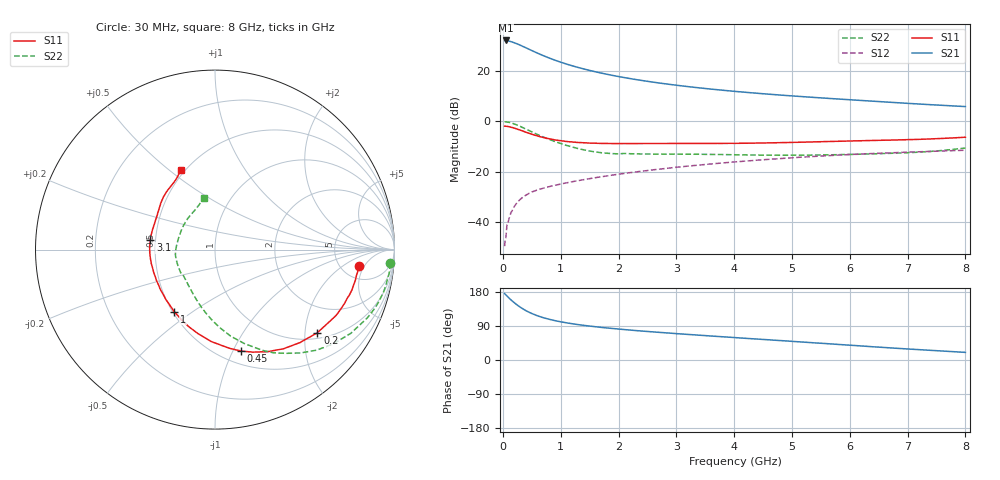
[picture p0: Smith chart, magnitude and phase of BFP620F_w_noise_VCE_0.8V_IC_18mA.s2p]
! Infineon Technologies  Discrete & RF Semiconductors
! BFP620F
! VCE =  0.8 V,  IC =  18 mA
! Common Emitter S-Parameters:  Dec 2014
# GHz  S  MA  R  50
!  f  S11  S21  S12  S22
! GHz  MAG  ANG  MAG  ANG  MAG  ANG  MAG  ANG
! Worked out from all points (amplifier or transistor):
!   95 points, 30 MHz to 8 GHz, reference 50 ohm
!   highest |S21| = 32.2 dB at 50 MHz (marker M1)
!   |S21| within 3 dB of that: start of sweep to 406.5 MHz
!   unconditionally stable (mu >= 1): 3.097 GHz to end of sweep
!   at 300 MHz: K = 0.26, MSG = 30.7 dB, |S12| = -31.0 dB
!   at 3.3 GHz: K = 1.01, MAG = 15.1 dB, |S12| = -17.6 dB
!   at 8 GHz: K = 1.07, MAG = 7.1 dB, |S12| = -11.5 dB
!   lowest NFmin = 0.78 dB at 450 MHz
!   S11 on the Smith chart (normalised r, x): 30 MHz: 7.36, -3.79; 200 MHz: 1.15, -2.32; 450 MHz: 0.63, -1.08; 1 GHz: 0.51, -0.43; 3.1 GHz: 0.47, +0.06; 8 GHz: 0.47, +0.55
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0.03  0.8065 -6.4  40.7 175.3  0.0033 90.3  0.9783 -4.5
0.05  0.8011 -10.5  40.8 172.1  0.0048 86.3  0.9792 -7.8
0.08  0.7951 -16.5  40.41 167.4  0.0088 83.9  0.9706 -12.9
0.13  0.7724 -26.5  38.97 160.0  0.0141 77.5  0.9443 -21.0
0.2  0.7347 -39.1  36.59 150.9  0.0205 73.0  0.8891 -31.6
0.25  0.7021 -47.5  34.78 144.8  0.0247 68.8  0.8436 -38.4
0.3  0.6718 -55.3  32.9 139.4  0.0281 66.3  0.7965 -44.7
0.4  0.6091 -69.7  29.12 130.1  0.0342 61.8  0.7013 -55.5
0.45  0.5839 -75.5  27.33 126.3  0.0369 60.0  0.6615 -60.4
0.5  0.5566 -81.5  25.69 122.7  0.0395 58.9  0.6204 -64.8
0.6  0.5131 -92.2  22.78 116.6  0.0434 56.6  0.548 -72.7
0.7  0.4782 -101.3  20.33 111.6  0.047 55.6  0.4895 -79.8
0.8  0.452 -109.4  18.27 107.5  0.0504 54.7  0.4396 -85.9
1  0.4137 -123.3  15.09 100.8  0.0568 54.0  0.3633 -97.1
1.4  0.3767 -144.1  11.06 91.4  0.0695 54.2  0.2721 -117.3
2  0.3626 -165.2  7.82 81.7  0.0892 53.8  0.2265 -143.3
2.7  0.364 178.6  5.822 73.0  0.1122 51.8  0.2236 -161.3
3.1  0.3647 171.4  5.083 68.6  0.1255 50.2  0.2227 -168.4
4.1  0.3675 156.1  3.882 58.2  0.1593 45.2  0.2162 176.5
5.4  0.3923 141.3  2.993 45.1  0.2017 36.8  0.2146 153.5
6.7  0.4252 127.3  2.404 32.0  0.2371 27.3  0.2319 129.3
8  0.4852 113.2  1.973 20.1  0.2671 17.9  0.296 101.9
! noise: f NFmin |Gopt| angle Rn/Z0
0.45  0.78  0.08  6  0.21
0.9  0.84  0.08  15  0.18
1.5  0.89  0.08  16  0.14
1.8  0.91  0.07  17  0.13
1.9  0.92  0.04  34  0.15
2.4  0.96  0.03  60  0.14
3.5  1.04  0.03  133  0.14
5.5  1.18  0.13  224  0.09
6  1.21  0.13  245  0.13
